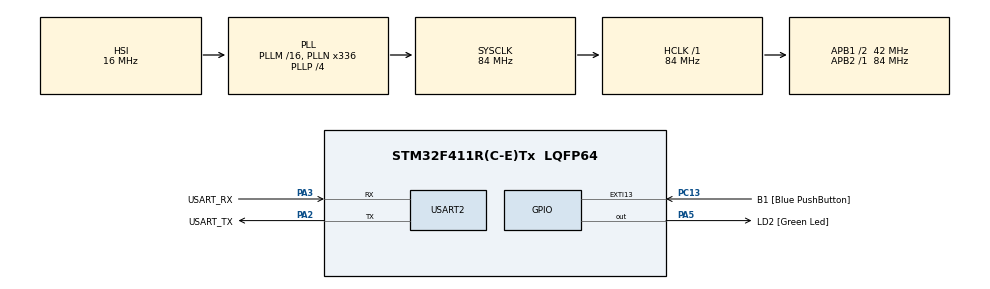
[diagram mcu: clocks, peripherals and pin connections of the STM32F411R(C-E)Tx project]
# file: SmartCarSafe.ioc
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Mcu.Family=STM32F4
Mcu.Name=STM32F411R(C-E)Tx
Mcu.Package=LQFP64
NVIC.PriorityGroup=NVIC_PRIORITYGROUP_0
PA13.GPIO_Label=TMS
PA13.Mode=Serial_Wire
PA13.Signal=SYS_JTMS-SWDIO
PA14.GPIO_Label=TCK
PA14.Mode=Serial_Wire
PA14.Signal=SYS_JTCK-SWCLK
PA2.GPIO_Label=USART_TX
PA2.Mode=Asynchronous
PA2.Signal=USART2_TX
PA3.GPIO_Label=USART_RX
PA3.Mode=Asynchronous
PA3.Signal=USART2_RX
PA5.GPIO_Label=LD2 [Green Led]
PA5.Signal=GPIO_Output
PB3.GPIO_Label=SWO
PB3.Signal=SYS_JTDO-SWO
PC13-ANTI_TAMP.GPIO_Label=B1 [Blue PushButton]
PC13-ANTI_TAMP.GPIO_ModeDefaultEXTI=GPIO_MODE_IT_FALLING
PC13-ANTI_TAMP.Signal=GPXTI13
PC14-OSC32_IN.Mode=LSE-External-Oscillator
PC14-OSC32_IN.Signal=RCC_OSC32_IN
PC15-OSC32_OUT.Mode=LSE-External-Oscillator
PC15-OSC32_OUT.Signal=RCC_OSC32_OUT
PH0\ -\ OSC_IN.Mode=HSE-External-Clock-Source
PH0\ -\ OSC_IN.Signal=RCC_OSC_IN
PH1\ -\ OSC_OUT.Mode=HSE-External-Clock-Source
PH1\ -\ OSC_OUT.Signal=RCC_OSC_OUT
ProjectManager.HeapSize=0x200
ProjectManager.StackSize=0x400
ProjectManager.TargetToolchain=STM32CubeIDE
RCC.48MHZClocksFreq_Value=84000000
RCC.AHBFreq_Value=84000000
RCC.APB1CLKDivider=RCC_HCLK_DIV2
RCC.APB1Freq_Value=42000000
RCC.APB1TimFreq_Value=84000000
RCC.APB2Freq_Value=84000000
RCC.APB2TimFreq_Value=84000000
RCC.CortexFreq_Value=84000000
RCC.FLatency-AdvancedSettings=FLASH_LATENCY_2
RCC.HCLKFreq_Value=84000000
RCC.HSE_VALUE=8000000
RCC.HSI_VALUE=16000000
RCC.PLLN=336
RCC.PLLP=RCC_PLLP_DIV4
RCC.SYSCLKFreq_VALUE=84000000
RCC.SYSCLKSource=RCC_SYSCLKSOURCE_PLLCLK
RCC.VCOOutputFreq_Value=336000000
USART2.VirtualMode=VM_ASYNC
board=NUCLEO-F411RE

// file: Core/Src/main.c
/* USER CODE BEGIN Header */
/**
  ******************************************************************************
  * @file           : main.c
  * @brief          : Main program body
  ******************************************************************************
  * @attention
  *
  * Copyright (c) 2026 STMicroelectronics.
  * All rights reserved.
  *
  * This software is licensed under terms that can be found in the LICENSE file
  * in the root directory of this software component.
  * If no LICENSE file comes with this software, it is provided AS-IS.
  *
  ******************************************************************************
  */
/* USER CODE END Header */
#include "main.h"

/* USER CODE BEGIN Includes */
#include "car_actuator.h"
#include "car_state.h"
#include "dev_bmp280.h"
#include "dev_lcd_i2c.h"
#include "dev_sound_analog.h"
#include "hw_i2c.h"
#include "radar_exti.h"
#include "sys_timer.h"
/* USER CODE END Includes */

/* USER CODE BEGIN PTD */
/**
 * @brief Trạng thái máy trạng thái ứng dụng
 * - IDLE: Xe mở khóa hoặc ACC bật, tắt toàn bộ cảnh báo
 * - ARMING: Xe đã khóa, chờ ổn định trước khi quét cabin
 * - SCANNING: Xe đã khóa, giám sát liên tục cảm biến chuyển động/âm thanh/nhiệt độ
 * - ALARM: Phát hiện mối đe dọa, kích hoạt còi và tăng tốc độ quạt
 */
typedef enum
{
    APP_STATE_IDLE = 0U,      /* Trạng thái xe mở khóa */
    APP_STATE_ARMING,         /* Trạng thái chờ ổn định */
    APP_STATE_SCANNING,       /* Trạng thái giám sát chủ động */
    APP_STATE_ALARM           /* Trạng thái phát hiện mối đe dọa */
} App_State_t;

/**
 * @brief Tín hiệu nhập cabin sau khi qua bộ lọc nhiễu/debounce từ các driver
 *
 * Cấu trúc này lưu trữ ảnh chụp tức thời trạng thái ổn định của tất cả tín hiệu nhập.
 * Tầng ứng dụng chỉ xử lý logic qua các trường này, không đọc thanh ghi trực tiếp.
 */
typedef struct
{
    uint8_t acc_on;            /* Trạng thái ACC */
    uint8_t door_open;         /* Trạng thái cửa mở */
    uint8_t door_tamper;       /* Phát hiện cửa bị can thiệp (đã khóa + cửa mở) */
    uint8_t locked;            /* Trạng thái khóa xe */
    uint8_t radar_present;     /* Phát hiện chuyển động bằng radar */
    uint8_t sound_detected;    /* Phát hiện âm thanh vượt ngưỡng */
    float   temperature_c;     /* Nhiệt độ cabin hiện tại tính bằng Celsius */
} Cabin_Input_t;
/* USER CODE END PTD */

/* USER CODE BEGIN PD */
#define APP_ARMING_TIME_MS          3000U
#define APP_SENSOR_PERIOD_MS        20U
#define APP_TEMP_PERIOD_MS          1000U
#define APP_LCD_PERIOD_MS           2000U
#define APP_ALARM_RECHECK_MS        10000U
#define APP_SOUND_INDICATOR_HOLD_MS 2000U

#define TEMP_THRESHOLD_WARNING_C    30.0f
#define TEMP_THRESHOLD_DANGER_C     33.0f
#define SOUND_THRESHOLD_ADC         500U

/* Giá trị đánh dấu kênh chấp hành không sử dụng */
#define ACTUATOR_UNUSED_PORT        ((GPIO_TypeDef *)0)

/* Chân tín hiệu xe (GPIO input pull-up, active-low) */
#define CAR_ACC_PORT                GPIOC
#define CAR_ACC_PIN                 0U
#define CAR_DOOR_PORT               GPIOC
#define CAR_DOOR_PIN                1U
#define CAR_LOCK_PORT               GPIOC
#define CAR_LOCK_PIN                2U

/* Các chân LED báo trạng thái nút bấm (Port C) */
#define LED_ACC_PORT        		GPIOC
#define LED_ACC_PIN         		3U
#define LED_DOOR_PORT       		GPIOC
#define LED_DOOR_PIN        		4U
#define LED_LOCK_PORT       		GPIOC
#define LED_LOCK_PIN        		5U

/* Cảm biến âm thanh KY-037 */
#define SOUND_PORT                  GPIOA
#define SOUND_PIN                   0U
#define SOUND_ADC_CHANNEL           0U

/* Cảm biến nhiệt độ BMP/BME280 trên I2C1 (PB8/PB9) */
#define BMP_I2C_BUS                 I2C1
#define BMP_I2C_SCL_PORT            GPIOB
#define BMP_I2C_SCL_PIN             8U
#define BMP_I2C_SDA_PORT            GPIOB
#define BMP_I2C_SDA_PIN             9U
#define BMP_I2C_SCL_AF              4U
#define BMP_I2C_SDA_AF              4U

/* Màn hình LCD (qua PCF8574) trên I2C2 (PB10/PB11) */
#define LCD_I2C_BUS                 I2C2
#define LCD_I2C_SCL_PORT            GPIOB
#define LCD_I2C_SCL_PIN             10U
#define LCD_I2C_SDA_PORT            GPIOB
#define LCD_I2C_SDA_PIN             3U
#define LCD_I2C_SCL_AF              4U
#define LCD_I2C_SDA_AF              9U

/* Driver quạt TB6612FNG trên TIM3_CH1 */
#define FAN_AIN1_PORT               GPIOA  /* Chân hướng động cơ 1 (PA7) */
#define FAN_AIN1_PIN                7U
#define FAN_AIN2_PORT               GPIOB  /* Chân hướng động cơ 2 (PB0) */
#define FAN_AIN2_PIN                0U
#define FAN_STBY_PORT               GPIOB  /* Chân standby quạt (PB1) */
#define FAN_STBY_PIN                1U
#define FAN_PWM_PORT                GPIOA  /* Chân PWM quạt (PA6) */
#define FAN_PWM_PIN                 6U
#define SERVO_PWM_PORT              ACTUATOR_UNUSED_PORT
#define SERVO_PWM_PIN               0U
#define TIM3_AF                     2U     /* Hàm thay thế Timer 3 */

/* Các chân đầu ra cảnh báo */
#define BUZZER_PORT                 GPIOA  /* Còi cảnh báo (PA8), mức cao kích hoạt */
#define BUZZER_PIN                  8U
#define SOUND_LED_PORT              GPIOB  /* LED chỉ báo phát hiện âm thanh (PB4) */
#define SOUND_LED_PIN               4U
/* USER CODE END PD */

UART_HandleTypeDef huart2;

/* Biến lưu trữ trạng thái máy trạng thái hiện tại */
static App_State_t   sg_app_state = APP_STATE_IDLE;

/* Biến lưu trữ ảnh chụp tín hiệu nhập cabin sau lọc */
static Cabin_Input_t sg_input = {0U, 0U, 0U, 0U, 0U, 0U, 28.0f};

/* Thời điểm chuyển đổi trạng thái (ms) */
static uint32_t sg_state_tick = 0U;

/* Thời điểm đọc cảm biến nhanh cuối cùng (ms) */
static uint32_t sg_last_sensor_tick = 0U;

/* Thời điểm đọc nhiệt độ cuối cùng (ms) */
static uint32_t sg_last_temp_tick = 0U;

/* Thời điểm cập nhật màn hình LCD cuối cùng (ms) */
static uint32_t sg_last_lcd_tick = 0U;

/* Thời điểm phát hiện âm thanh cuối cùng (ms) */
static uint32_t sg_last_sound_tick = 0U;

void SystemClock_Config(void);
static void MX_GPIO_Init(void);
static void MX_USART2_UART_Init(void);
/* USER CODE BEGIN PFP */
/*
 * @brief Khởi tạo ứng dụng: cấu hình tất cả các thiết bị ngoại vi và driver
 */
static void APP_Init(void);

/*
 * @brief Vòng lặp chính ứng dụng: xử lý cảm biến và cập nhật máy trạng thái
 */
static void APP_Process(void);

/*
 * @brief Đọc tín hiệu nhập nhanh: trạng thái nút bấm, radar, phát hiện âm thanh (chu kỳ 20ms)
 */
static void APP_ReadFastInputs(void);

/*
 * @brief Đọc tín hiệu nhập chậm: cảm biến nhiệt độ qua I2C (chu kỳ 1s)
 */
static void APP_ReadSlowInputs(void);

/*
 * @brief Cập nhật máy trạng thái và xử lý chuyển đổi trạng thái
 */
static void APP_RunStateMachine(void);

/*
 * @brief Cập nhật các thiết bị đầu ra dựa trên trạng thái hiện tại
 */
static void APP_UpdateOutputs(void);

/*
 * @brief Cập nhật màn hình LCD với trạng thái hệ thống và nhiệt độ hiện tại
 */
static void APP_UpdateDisplay(void);

/*
 * @brief Chống dội và khóa tín hiệu chuyển đổi khóa
 * @param door_open Trạng thái cửa mở hiện tại
 * @return Trạng thái khóa khóa (1=khóa, 0=mở khóa)
 */
static uint8_t APP_ReadLockToggle(uint8_t door_open);

/*
 * @brief Kiểm tra xem các điều kiện bảo vệ có được đáp ứng hay không (ACC tắt, cửa đóng, đã khóa)
 * @return 1 nếu có thể bảo vệ, 0 nếu không
 */
static uint8_t APP_IsArmedCondition(void);

/*
 * @brief Kiểm tra xem các điều kiện hủy bảo vệ có được đáp ứng hay không (ACC bật hoặc xe mở khóa)
 * @return 1 nếu nên hủy bảo vệ, 0 nếu không
 */
static uint8_t APP_IsDisarmCondition(void);

/*
 * @brief Kiểm tra xem có bất kỳ điều kiện báo động nào được kích hoạt hay không
 * @return 1 nếu nên báo động, 0 nếu không
 */
static uint8_t APP_ShouldAlarm(void);

/*
 * @brief Lấy trạng thái hiển thị LCD dựa trên điều kiện hiện tại
 * @return Mã trạng thái hệ thống (AN_TOÀN/CẢNH_BÁO/NGUY_HIỂM)
 */
static uint8_t APP_LcdState(void);

/*
 * @brief Kiểm tra xem LED chỉ báo âm thanh có nên hoạt động hay không
 * @return 1 nếu hoạt động, 0 nếu không hoạt động
 */
static uint8_t APP_IsSoundIndicatorActive(void);

/*
 * @brief Khởi tạo chân đầu ra còi (PA8)
 */
static void APP_Buzzer_Init(void);

/*
 * @brief Điều khiển đầu ra còi
 * @param on 1 để bật còi, 0 để tắt
 */
static void APP_Buzzer_Write(uint8_t on);

/*
 * @brief Khởi tạo chân LED chỉ báo âm thanh (PB4)
 */
static void APP_SoundLed_Init(void);

/*
 * @brief Điều khiển LED chỉ báo âm thanh
 * @param on 1 để bật LED, 0 để tắt
 */
static void APP_SoundLed_Write(uint8_t on);

/*
 * @brief Điều khiển LED trạng thái chính (LD2)
 * @param on 1 để bật LED, 0 để tắt
 */
static void APP_Led_Write(uint8_t on);

/*
 * @brief Nhấp nháy LED với chu kỳ xác định (cho các mẫu nhấp nháy)
 * @param period_ms Chu kỳ nhấp nháy tính bằng mili giây
 */
static void APP_Led_TogglePattern(uint32_t period_ms);

/* USER CODE END PFP */

/* USER CODE BEGIN 0 */

/*
 * @brief Khởi tạo ứng dụng: cấu hình tất cả các thiết bị ngoại vi và driver
 *
 * Thiết lập bộ điều khiển hệ thống, các driver GPIO cho tín hiệu xe, các bus I2C cho cảm biến,
 * ADC cho phát hiện âm thanh, và các thiết bị đầu ra (quạt, còi, LED).
 */
static void APP_Init(void)
{
    /* Cấu hình các chân tín hiệu xe */
    Car_Pin_Config_t car_pins[CAR_SIGNAL_MAX] = {
        {CAR_ACC_PORT,  CAR_ACC_PIN},
        {CAR_DOOR_PORT, CAR_DOOR_PIN},
        {CAR_LOCK_PORT, CAR_LOCK_PIN}
    };

    /* Cấu hình cảm biến âm thanh (KY-037 -> ADC1 kênh 0) */
    Sound_Config_t sound_config = {
        .port = SOUND_PORT,
        .pin = SOUND_PIN,
        .adcChannel = SOUND_ADC_CHANNEL,
        .adc = ADC1
    };

    /* Cấu hình driver quạt (TB6612FNG) đều khiển quạt */
    Car_Actuator_Config_t actuator_config = {
        .ain1 = {FAN_AIN1_PORT, FAN_AIN1_PIN},
        .ain2 = {FAN_AIN2_PORT, FAN_AIN2_PIN},
        .stby = {FAN_STBY_PORT, FAN_STBY_PIN},
        .pwma = {FAN_PWM_PORT, FAN_PWM_PIN, TIM3_AF},
        .servo = {SERVO_PWM_PORT, SERVO_PWM_PIN, TIM3_AF},
        .led_acc  = {LED_ACC_PORT, LED_ACC_PIN},
        .led_door = {LED_DOOR_PORT, LED_DOOR_PIN},
        .led_lock = {LED_LOCK_PORT, LED_LOCK_PIN}
    };

    /* Khởi tạo bộ đều khiển thời gian hệ thống và các thiết bị đầu ra */
    SysTimer_Init(SystemCoreClock);
    APP_Buzzer_Init();
    APP_SoundLed_Init();

    /* Khởi tạo giám sát tín hiệu xe */
    Car_State_Init(car_pins);
    Car_Actuator_Init(&actuator_config);

    /* Khởi tạo I2C1 cho cảm biến nhiệt độ BMP/BME280 */
    HW_GPIO_Init_I2C_Pin(BMP_I2C_SCL_PORT, BMP_I2C_SCL_PIN, BMP_I2C_SCL_AF);
    HW_GPIO_Init_I2C_Pin(BMP_I2C_SDA_PORT, BMP_I2C_SDA_PIN, BMP_I2C_SDA_AF);
    HW_I2C_Init(BMP_I2C_BUS);
    BMP280_Init(BMP_I2C_BUS);

    /* Khởi tạo I2C2 cho màn hình LCD (qua PCF8574 I2C expander) */
    HW_GPIO_Init_I2C_Pin(LCD_I2C_SCL_PORT, LCD_I2C_SCL_PIN, LCD_I2C_SCL_AF);
    HW_GPIO_Init_I2C_Pin(LCD_I2C_SDA_PORT, LCD_I2C_SDA_PIN, LCD_I2C_SDA_AF);
    HW_I2C_Init(LCD_I2C_BUS);
    LCD_Init(LCD_I2C_BUS);

    /* Khởi tạo radar và phát hiện âm thanh */
    Radar_EXTI_Init();
    Sound_Init(&sound_config);
    Sound_SetThreshold(SOUND_THRESHOLD_ADC);

    /* Đặt tất cả các đầu ra về trạng thái an toàn */
    Actuator_Set_Fan_Speed(0U);
    APP_Buzzer_Write(0U);
    APP_Led_Write(0U);
    APP_SoundLed_Write(0U);

    sg_state_tick = SysTimer_GetTick();
}

static void APP_Process(void)
{
    uint32_t now = SysTimer_GetTick();

    /* Liên tục xử lý ADC âm thanh lọc trung bình động */
    Sound_Process();

    /* Vòng lặp cảm biến nhanh: xử lý nút bấm, radar, âm thanh và máy trạng thái (chu kỳ 20ms) */
    if ((now - sg_last_sensor_tick) >= APP_SENSOR_PERIOD_MS)
    {
        sg_last_sensor_tick = now;
        APP_ReadFastInputs();
        APP_RunStateMachine();
        APP_UpdateOutputs();
    }

    /* Vòng lặp cảm biến chậm: đọc nhiệt độ từ I2C (chu kỳ 1s để tránh làm chậm vòng đọc chính) */
    if ((now - sg_last_temp_tick) >= APP_TEMP_PERIOD_MS)
    {
        sg_last_temp_tick = now;
        APP_ReadSlowInputs();
    }

    /* Vòng lặp cập nhật màn hình: làm mới màn hình LCD (chu kỳ 2s để giảm nhấp nháy) */
    if ((now - sg_last_lcd_tick) >= APP_LCD_PERIOD_MS)
    {
        sg_last_lcd_tick = now;
        APP_UpdateDisplay();
    }
}

/*
 * @brief Đọc tín hiệu nhập nhanh: nút bấm, radar, và phát hiện âm thanh
 *
 * Cập nhật cấu trúc sg_input với các trạng thái cảm biến lọc được hiện tại.
 * Phát hiện cửa bị can thiệp kểy ra khi xe đã khóa nhưng cửa mở.
 */
static void APP_ReadFastInputs(void)
{
    /* Đọc tín hiệu xe từ các driver (vãn được chống dội) */
    uint8_t door_requested = Car_Get_System_Status(CAR_DOOR_SIGNAL);

    sg_input.acc_on = Car_Get_System_Status(CAR_ACC_SIGNAL);
    sg_input.locked = APP_ReadLockToggle(door_requested);
    sg_input.door_tamper = ((sg_input.locked != 0U) && (door_requested != 0U)) ? 1U : 0U;
    sg_input.door_open = (sg_input.locked == 0U) ? door_requested : 0U;
    sg_input.radar_present = Radar_Is_Detected();
    sg_input.sound_detected = Sound_IsDetected();

    /* Cập nhật dấu thời gian chỉ báo âm thanh khi phát hiện âm thanh trong quá trình giám sát */
    if (((sg_app_state == APP_STATE_SCANNING) ||
         (sg_app_state == APP_STATE_ALARM)) &&
        (sg_input.sound_detected != 0U))
    {
        sg_last_sound_tick = SysTimer_GetTick();
    }

    /* Cập nhật LED */
    Actuator_Set_StatusLED(sg_input.acc_on, door_requested, sg_input.locked);
}

/*
 * @brief Đọc tín hiệu nhập chậm: cảm biến nhiệt độ qua I2C
 */
static void APP_ReadSlowInputs(void)
{
    sg_input.temperature_c = BMP280_Read_Temperature(BMP_I2C_BUS);
}

/*
 * @brief Cập nhật máy trạng thái và xử lý chuyển đổi
 *
 * Luồng trạng thái: IDLE -> ARMING -> SCANNING -> ALARM
 * Quay trở về IDLE nếu ACC bật hoặc xe mở khóa
 */
static void APP_RunStateMachine(void)
{
    uint32_t now = SysTimer_GetTick();

    switch (sg_app_state)
    {
        case APP_STATE_IDLE:
            if (APP_IsArmedCondition() != 0U)
            {
                sg_app_state = APP_STATE_ARMING;
                sg_state_tick = now;
                Radar_ClearPresence();
            }
            break;

        case APP_STATE_ARMING:
            if (APP_IsDisarmCondition() != 0U)
            {
                sg_app_state = APP_STATE_IDLE;
                sg_state_tick = now;
            }
            else if (sg_input.door_tamper != 0U)
            {
                sg_app_state = APP_STATE_ALARM;
                sg_state_tick = now;
            }
            else if ((now - sg_state_tick) >= APP_ARMING_TIME_MS)
            {
                sg_app_state = APP_STATE_SCANNING;
                sg_state_tick = now;
            }
            break;

        case APP_STATE_SCANNING:
            if (APP_IsDisarmCondition() != 0U)
            {
                sg_app_state = APP_STATE_IDLE;
                sg_state_tick = now;
                Radar_ClearPresence();
            }
            else if (APP_ShouldAlarm() != 0U)
            {
                sg_app_state = APP_STATE_ALARM;
                sg_state_tick = now;
            }
            break;

        case APP_STATE_ALARM:
            if (APP_IsDisarmCondition() != 0U)
            {
                sg_app_state = APP_STATE_IDLE;
                sg_state_tick = now;
                Radar_ClearPresence();
            }
            else
            {
                /* Xóa latch radar để ngăn ngừa dương tính khóa trong khi còi đang kêu */
                /* Tiếng ồn/giữ có thể gây khóa lưu dãy không mong muốn */
                Radar_ClearPresence();
                sg_input.radar_present = RADAR_ABSENCE;

                if ((now - sg_state_tick) >= APP_ALARM_RECHECK_MS)
                {
                    sg_state_tick = now;
                    if (APP_ShouldAlarm() == 0U)
                    {
                        sg_app_state = APP_STATE_SCANNING;
                    }
                }
            }
            break;

        default:
            sg_app_state = APP_STATE_IDLE;
            sg_state_tick = now;
            break;
    }
}

static void APP_UpdateOutputs(void)
{
    switch (sg_app_state)
    {
        case APP_STATE_IDLE:
            Actuator_Set_Fan_Speed(0U);
            APP_Buzzer_Write(0U);
            APP_Led_Write(0U);
            break;

        case APP_STATE_ARMING:
            Actuator_Set_Fan_Speed(0U);
            APP_Buzzer_Write(0U);
            APP_Led_TogglePattern(250U);
            break;

        case APP_STATE_SCANNING:
            APP_Buzzer_Write(0U);
            APP_Led_TogglePattern(1000U);

            if (sg_input.temperature_c >= TEMP_THRESHOLD_WARNING_C)
            {
                Actuator_Set_Fan_Speed(1U);
            }
            else
            {
                Actuator_Set_Fan_Speed(0U);
            }
            break;

        case APP_STATE_ALARM:
            Actuator_Set_Fan_Speed(2U);
            APP_Buzzer_Write(1U);
            APP_Led_Write(1U);
            break;

        default:
            break;
    }

    if ((sg_app_state == APP_STATE_SCANNING) ||
        (sg_app_state == APP_STATE_ALARM))
    {
        APP_SoundLed_Write(APP_IsSoundIndicatorActive());
    }
    else
    {
        APP_SoundLed_Write(0U);
    }
}

/*
 * @brief Cập nhật màn hình LCD với trạng thái hệ thống và nhiệt độ hiện tại
 */
static void APP_UpdateDisplay(void)
{
    LCD_Display_Status(LCD_I2C_BUS, APP_LcdState(), sg_input.temperature_c);
}

/*
 * @brief Chống dội và khóa tín hiệu chuyển đổi khóa từ nguồn vật lý
 *
 * Cùng mọc logic chống dội: đổi trạng thái chỉ khi ổn định cho
 * DEBOUNCE_TIME_MS. Ngăn ngġa đổi trạng thái đôi dựa do nhiễuù.
 * @param door_open Trạng thái cửa mở hiện tại
 * @return Trạng thái khóa khóa (1=khóa, 0=mở khóa)
 */
static uint8_t APP_ReadLockToggle(uint8_t door_open)
{
    static uint8_t  last_raw_state = 1U;
    static uint8_t  stable_state = 1U;
    static uint8_t  last_stable_state = 1U;
    static uint8_t  lock_latched = 0U;
    static uint32_t last_debounce_tick = 0U;

    uint32_t now = SysTimer_GetTick();
    uint32_t pin_mask = (1UL << CAR_LOCK_PIN);
    uint8_t raw_state = ((CAR_LOCK_PORT->IDR & pin_mask) != 0U) ? 1U : 0U;

    if (raw_state != last_raw_state)
    {
        last_debounce_tick = now;
    }

    if ((now - last_debounce_tick) > DEBOUNCE_TIME_MS)
    {
        stable_state = raw_state;
    }

    if ((stable_state == 0U) && (last_stable_state == 1U))
    {
        if (lock_latched != 0U)
        {
            lock_latched = 0U;
        }
        else if (door_open == 0U)
        {
            lock_latched = 1U;
        }
    }

    last_raw_state = raw_state;
    last_stable_state = stable_state;

    return lock_latched;
}

/*
 * @brief Kiểm tra xem xe có thể được bảo vệ hay không (ACC tắt, cửa đóng, khóa)
 * @return 1 nếu điều kiện bảo vệ được đáp ứng, 0 nếu không
 */
static uint8_t APP_IsArmedCondition(void)
{
    return ((sg_input.acc_on == 0U) &&
            (sg_input.door_open == 0U) &&
            (sg_input.locked != 0U)) ? 1U : 0U;
}

/*
 * @brief Kiểm tra xem xe có nên hủy bảo vệ hay không (ACC bật hoặc xe mở khóa)
 * @return 1 nếu điều kiện hủy bảo vệ được đáp ứng, 0 nếu không
 */
static uint8_t APP_IsDisarmCondition(void)
{
    return ((sg_input.acc_on != 0U) ||
            (sg_input.locked == 0U)) ? 1U : 0U;
}

/*
 * @brief Kiểm tra xem có bất kỳ điều kiện báo động nào được kích hoạt hay không
 *
 * Kích hoạt báo động khi:
 * - Cửa bị can thiệp (đã khóa + cửa mở)
 * - Nhiệt độ nguy hiểm (>= 33°C)
 * - Phát hiện âm thanh
 * - Chuyển động + nhiệt độ cảnh báo (radar + >= 30°C)
 *
 * @return 1 nếu có điều kiện báo động, 0 nếu không
 */
static uint8_t APP_ShouldAlarm(void)
{
    /* Báo động ngay: cửa bị can thiệp trong khi đã khóa */
    if (sg_input.door_tamper != 0U)
    {
        return 1U;
    }

    /* Báo động ngay: nhiệt độ nguy hiểm */
    if (sg_input.temperature_c >= TEMP_THRESHOLD_DANGER_C)
    {
        return 1U;
    }

    /* Báo động ngay: phát hiện âm thanh vượt ngưỡng */
    if (sg_input.sound_detected != 0U)
    {
        return 1U;
    }

    /* Báo động kết hợp: chuyển động + nhiệt độ cảnh báo (giảm khả năng dương tính giả) */
    if ((sg_input.radar_present == RADAR_PRESENCE) &&
        (sg_input.temperature_c >= TEMP_THRESHOLD_WARNING_C))
    {
        return 1U;
    }

    return 0U;
}

/*
 * @brief Lấy trạng thái hiển thị LCD dựa trên điều kiện hiện tại
 * @return Mã trạng thái hệ thống (NGUY_HIỄM/CẢNH_BÁO/AN_TOÀN)
 */
static uint8_t APP_LcdState(void)
{
    /* Hiển thị NGUY_HIỄM nếu báo động đang hoạt động */
    if (sg_app_state == APP_STATE_ALARM)
    {
        return SYS_STATE_DANGER;
    }

    /* Hiển thị CẢNH_BÁO trong chu kỳ chờ ổn định */
    if (sg_app_state == APP_STATE_ARMING)
    {
        return SYS_STATE_WARNING;
    }

    /* Trong chế độ giám sát, hiển thị CẢNH_BÁO nếu có mối đe phát hiện */
    if (sg_app_state == APP_STATE_SCANNING)
    {
        if ((sg_input.temperature_c >= TEMP_THRESHOLD_WARNING_C) ||
            (sg_input.radar_present == RADAR_PRESENCE) ||
            (sg_input.sound_detected != 0U))
        {
            return SYS_STATE_WARNING;
        }
    }

    return SYS_STATE_SAFE;
}

/*
 * @brief Kiểm tra xem LED chỉ báo âm thanh có nên hoạt động hay không
 * @return 1 nếu hoạt động (phát hiện âm thanh gần đây), 0 nếu không hoạt động
 */
static uint8_t APP_IsSoundIndicatorActive(void)
{
    if (sg_last_sound_tick == 0U)
    {
        return 0U;
    }

    /* LED lưu sáng trong APP_SOUND_INDICATOR_HOLD_MS sau lần phát hiện cuối cùng */
    return ((SysTimer_GetTick() - sg_last_sound_tick) < APP_SOUND_INDICATOR_HOLD_MS) ? 1U : 0U;
}

/*
 * @brief Khởi tạo chân đầu ra còi (PA8)
 * Cấu hình thành push-pull output không có pull resistor
 */
static void APP_Buzzer_Init(void)
{
    /* Bật mộ đồng hồ GPIO A */
    RCC->AHB1ENR |= RCC_AHB1ENR_GPIOAEN;

    /* Cấu hình PA8: chế độ đầu ra push-pull */
    BUZZER_PORT->MODER &= ~(3U << (BUZZER_PIN * 2U));
    BUZZER_PORT->MODER |=  (1U << (BUZZER_PIN * 2U));
    BUZZER_PORT->OTYPER &= ~(1U << BUZZER_PIN);
    BUZZER_PORT->PUPDR &= ~(3U << (BUZZER_PIN * 2U));
    BUZZER_PORT->OSPEEDR &= ~(3U << (BUZZER_PIN * 2U));
    BUZZER_PORT->ODR &= ~(1U << BUZZER_PIN);  /* Khởi tạo tắt */
}

/*
 * @brief Điều khiển đầu ra còi (hoạt động mức cao)
 * @param on 1 để bật còi, 0 để tắt
 */
static void APP_Buzzer_Write(uint8_t on)
{
    if (on != 0U)
    {
        BUZZER_PORT->ODR |= (1U << BUZZER_PIN);
    }
    else
    {
        BUZZER_PORT->ODR &= ~(1U << BUZZER_PIN);
    }
}

/*
 * @brief Khởi tạo chân LED chỉ báo âm thanh (PB4)
 * Cấu hình thành push-pull output không có pull resistor
 */
static void APP_SoundLed_Init(void)
{
    /* Bật mộ đồng hồ GPIO B */
    RCC->AHB1ENR |= RCC_AHB1ENR_GPIOBEN;

    /* Cấu hình PB4: chế độ đầu ra push-pull */
    SOUND_LED_PORT->MODER &= ~(3U << (SOUND_LED_PIN * 2U));
    SOUND_LED_PORT->MODER |=  (1U << (SOUND_LED_PIN * 2U));
    SOUND_LED_PORT->OTYPER &= ~(1U << SOUND_LED_PIN);
    SOUND_LED_PORT->PUPDR &= ~(3U << (SOUND_LED_PIN * 2U));
    SOUND_LED_PORT->OSPEEDR &= ~(3U << (SOUND_LED_PIN * 2U));
    SOUND_LED_PORT->ODR &= ~(1U << SOUND_LED_PIN);  /* Khởi tạo tắt */
}

/*
 * @brief Điều khiển LED chỉ báo âm thanh
 * @param on 1 để bật LED, 0 để tắt
 */
static void APP_SoundLed_Write(uint8_t on)
{
    if (on != 0U)
    {
        SOUND_LED_PORT->ODR |= (1U << SOUND_LED_PIN);
    }
    else
    {
        SOUND_LED_PORT->ODR &= ~(1U << SOUND_LED_PIN);
    }
}

/*
 * @brief Điều khiển LED trạng thái chính (LD2)
 * @param on 1 để bật LED, 0 để tắt
 */
static void APP_Led_Write(uint8_t on)
{
    if (on != 0U)
    {
        LD2_GPIO_Port->ODR |= LD2_Pin;
    }
    else
    {
        LD2_GPIO_Port->ODR &= ~LD2_Pin;
    }
}

/*
 * @brief Nhấp nháy LED với chu kỳ xác định (cho các mẫu nhấp nháy)
 * @param period_ms Chu kỳ nhấp nháy tính bằng mili giây
 */
static void APP_Led_TogglePattern(uint32_t period_ms)
{
    uint32_t phase = (SysTimer_GetTick() / period_ms) & 1U;
    APP_Led_Write((uint8_t)(phase != 0U));
}
/* USER CODE END 0 */

int main(void)
{

  /* MCU Configuration--------------------------------------------------------*/

  /* Reset of all peripherals, Initializes the Flash interface and the Systick. */
  HAL_Init();

  /* USER CODE BEGIN Init */

  /* GHI CHÙ: SystemClock_Config() được vô hiệu hóa để sử dụng đồng hồ HSI 16MHz mặc định
   * Điều này phù hợp với cấu hình bus I2C trong hw_i2c.c (APB1 = 16MHz)
   */
  /* SystemClock_Config(); */

  /* USER CODE END Init */

  /* Khởi tạo tất cả các thiết bị ngoại vi được cấu hình */
  MX_GPIO_Init();
  MX_USART2_UART_Init();
  /* USER CODE BEGIN 2 */
  APP_Init();  /* Khởi tạo các driver và thiết bị tầng ứng dụng */
  /* USER CODE END 2 */

  /* Vòng lặp chính ứng dụng */
  /* USER CODE BEGIN WHILE */
  while (1)
  {
      APP_Process();  /* Xử lý cảm biến và cập nhật máy trạng thái */
  }
  /* USER CODE END 3 */
}
/*
 * @brief Cấu hình Đồng hồ Hệ thống (hiện tại được vô hiệu hóa)
 *
 * Vô hiệu hóa để sử dụng đồng hồ HSI 16MHz mặc định.
 * Driver I2C hw_i2c.c yêu cầu APB1 = 16MHz để cấu hình thời gian.
 */
void SystemClock_Config(void)
{
  RCC_OscInitTypeDef RCC_OscInitStruct = {0};
  RCC_ClkInitTypeDef RCC_ClkInitStruct = {0};

  /** Configure the main internal regulator output voltage
  */
  __HAL_RCC_PWR_CLK_ENABLE();
  __HAL_PWR_VOLTAGESCALING_CONFIG(PWR_REGULATOR_VOLTAGE_SCALE1);

  /** Initializes the RCC Oscillators according to the specified parameters
  * in the RCC_OscInitTypeDef structure.
  */
  RCC_OscInitStruct.OscillatorType = RCC_OSCILLATORTYPE_HSI;
  RCC_OscInitStruct.HSIState = RCC_HSI_ON;
  RCC_OscInitStruct.HSICalibrationValue = RCC_HSICALIBRATION_DEFAULT;
  RCC_OscInitStruct.PLL.PLLState = RCC_PLL_ON;
  RCC_OscInitStruct.PLL.PLLSource = RCC_PLLSOURCE_HSI;
  RCC_OscInitStruct.PLL.PLLM = 16;
  RCC_OscInitStruct.PLL.PLLN = 336;
  RCC_OscInitStruct.PLL.PLLP = RCC_PLLP_DIV4;
  RCC_OscInitStruct.PLL.PLLQ = 4;
  if (HAL_RCC_OscConfig(&RCC_OscInitStruct) != HAL_OK)
  {
    Error_Handler();
  }

  /** Initializes the CPU, AHB and APB buses clocks
  */
  RCC_ClkInitStruct.ClockType = RCC_CLOCKTYPE_HCLK|RCC_CLOCKTYPE_SYSCLK
                              |RCC_CLOCKTYPE_PCLK1|RCC_CLOCKTYPE_PCLK2;
  RCC_ClkInitStruct.SYSCLKSource = RCC_SYSCLKSOURCE_PLLCLK;
  RCC_ClkInitStruct.AHBCLKDivider = RCC_SYSCLK_DIV1;
  RCC_ClkInitStruct.APB1CLKDivider = RCC_HCLK_DIV2;
  RCC_ClkInitStruct.APB2CLKDivider = RCC_HCLK_DIV1;

  if (HAL_RCC_ClockConfig(&RCC_ClkInitStruct, FLASH_LATENCY_2) != HAL_OK)
  {
    Error_Handler();
  }
}

static void MX_USART2_UART_Init(void)
{

  huart2.Instance = USART2;
  huart2.Init.BaudRate = 115200;
  huart2.Init.WordLength = UART_WORDLENGTH_8B;
  huart2.Init.StopBits = UART_STOPBITS_1;
  huart2.Init.Parity = UART_PARITY_NONE;
  huart2.Init.Mode = UART_MODE_TX_RX;
  huart2.Init.HwFlowCtl = UART_HWCONTROL_NONE;
  huart2.Init.OverSampling = UART_OVERSAMPLING_16;
  if (HAL_UART_Init(&huart2) != HAL_OK)
  {
    Error_Handler();
  }

}

static void MX_GPIO_Init(void)
{
  GPIO_InitTypeDef GPIO_InitStruct = {0};

  /* GPIO Ports Clock Enable */
  __HAL_RCC_GPIOC_CLK_ENABLE();
  __HAL_RCC_GPIOH_CLK_ENABLE();
  __HAL_RCC_GPIOA_CLK_ENABLE();
  __HAL_RCC_GPIOB_CLK_ENABLE();

  /*Configure GPIO pin Output Level */
  HAL_GPIO_WritePin(LD2_GPIO_Port, LD2_Pin, GPIO_PIN_RESET);

  /*Configure GPIO pin : B1_Pin */
  GPIO_InitStruct.Pin = B1_Pin;
  GPIO_InitStruct.Mode = GPIO_MODE_IT_FALLING;
  GPIO_InitStruct.Pull = GPIO_NOPULL;
  HAL_GPIO_Init(B1_GPIO_Port, &GPIO_InitStruct);

  /*Configure GPIO pin : LD2_Pin */
  GPIO_InitStruct.Pin = LD2_Pin;
  GPIO_InitStruct.Mode = GPIO_MODE_OUTPUT_PP;
  GPIO_InitStruct.Pull = GPIO_NOPULL;
  GPIO_InitStruct.Speed = GPIO_SPEED_FREQ_LOW;
  HAL_GPIO_Init(LD2_GPIO_Port, &GPIO_InitStruct);

}

void Error_Handler(void)
{
  __disable_irq();
  while (1)
  {
  }
}
